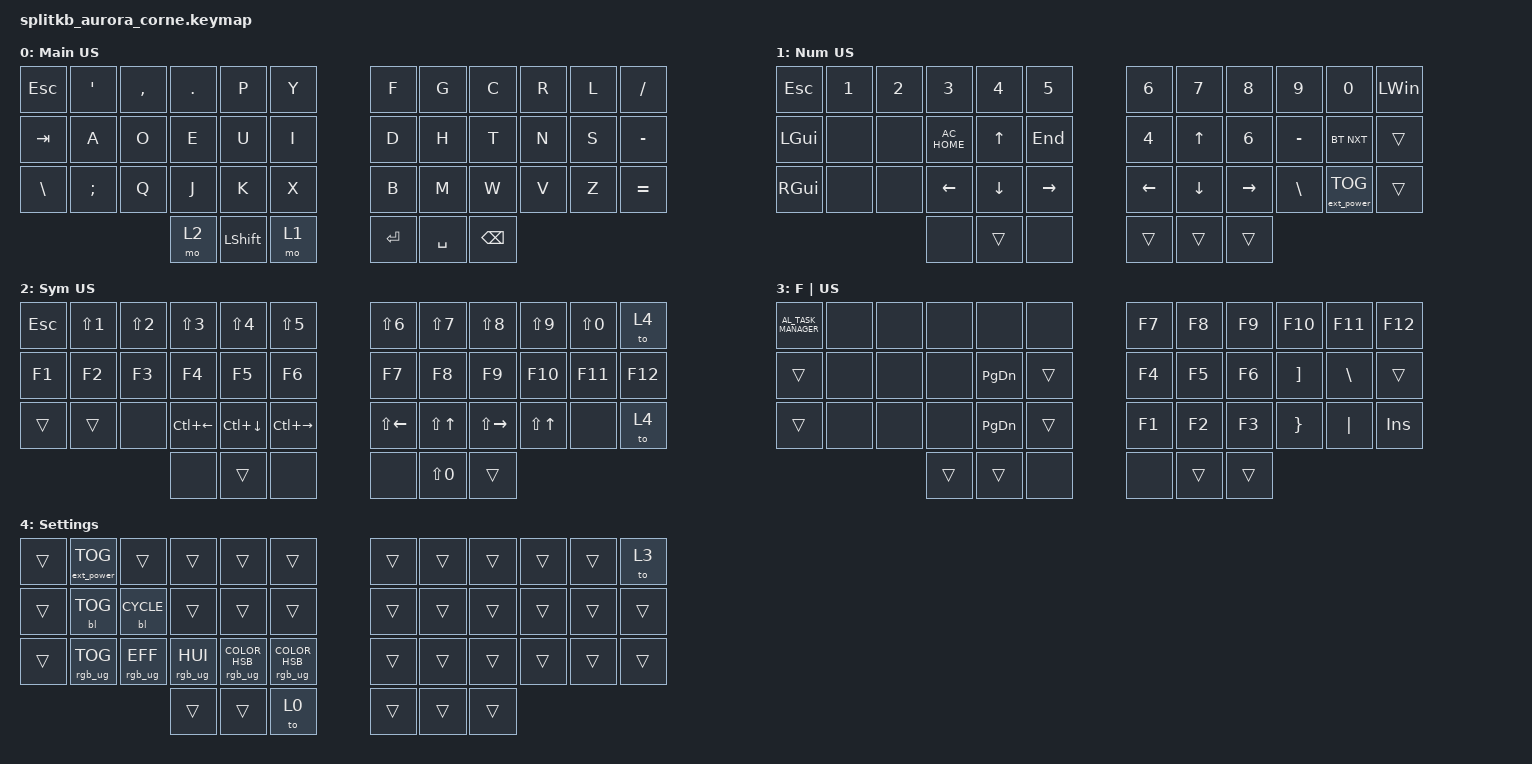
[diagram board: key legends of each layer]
/*
 * Copyright (c) 2020 The ZMK Contributors
 *
 * SPDX-License-Identifier: MIT
 */

#include <behaviors.dtsi>
#include <dt-bindings/zmk/backlight.h>
#include <dt-bindings/zmk/bt.h>
#include <dt-bindings/zmk/ext_power.h>
#include <dt-bindings/zmk/keys.h>
#include <dt-bindings/zmk/rgb.h>

&led_strip { chain-length = <27>; };

&nice_view_spi { cs-gpios = <&gpio1 1 GPIO_ACTIVE_HIGH>; };

&sl { release-after-ms = <2000>; };

/ {
    behaviors {
        contrl_tap: contrl_tap {
            compatible = "zmk,behavior-tap-dance";
            label = "CONTRL_TAP";
            #binding-cells = <0>;
            tapping-term-ms = <300>;
            bindings =
                <&kp LEFT_CONTROL>,
                <&kp LEFT_ALT>,
                <&kp LA(LEFT_CONTROL)>;
        };
    };

    combos {
        compatible = "zmk,combos";

        tomain {
            bindings = <&to 0>;
            key-positions = <38 39>;
        };

        tonumbers {
            bindings = <&to 1>;
            key-positions = <39 37>;
        };

        toF {
            bindings = <&to 3>;
            key-positions = <39 36>;
        };
    };

    keymap {
        compatible = "zmk,keymap";

        main {
            bindings = <
&kp ESCAPE  &kp SQT   &kp COMMA  &kp DOT  &kp P           &kp Y    &kp F      &kp G      &kp C          &kp R  &kp L  &kp FSLH
&kp TAB     &kp A     &kp O      &kp E    &kp U           &kp I    &kp D      &kp H      &kp T          &kp N  &kp S  &kp MINUS
&kp BSLH    &kp SEMI  &kp Q      &kp J    &kp K           &kp X    &kp B      &kp M      &kp W          &kp V  &kp Z  &kp EQUAL
                                 &mo 2    &kp LEFT_SHIFT  &mo 1    &kp ENTER  &kp SPACE  &kp BACKSPACE
            >;

            label = "Main US";
        };

        numbers {
            bindings = <
&kp ESC   &kp N1  &kp N2  &kp N3         &kp N4        &kp N5       &kp N6          &kp N7    &kp N8     &kp N9     &kp N0             &kp LEFT_WIN
&kp LGUI  &none   &none   &kp C_AC_HOME  &kp UP_ARROW  &kp END      &kp N4          &kp UP    &kp N6     &kp MINUS  &bt BT_NXT         &trans
&kp RGUI  &none   &none   &kp LEFT       &kp DOWN      &kp RIGHT    &kp LEFT_ARROW  &kp DOWN  &kp RIGHT  &kp BSLH   &ext_power EP_TOG  &trans
                          &none          &trans        &none        &trans          &trans    &trans
            >;

            label = "Num US";
        };

        symbols {
            bindings = <
&kp ESC  &kp LS(NUMBER_1)  &kp LS(NUMBER_2)  &kp LS(NUMBER_3)  &kp LS(NUMBER_4)  &kp LS(N5)       &kp LS(NUMBER_6)  &kp LS(N7)        &kp LS(N8)     &kp LS(N9)        &kp LS(NUMBER_0)  &to 4
&kp F1   &kp F2            &kp F3            &kp F4            &kp F5            &kp F6           &kp F7            &kp F8            &kp F9         &kp F10           &kp F11           &kp F12
&trans   &trans            &none             &kp LC(LEFT)      &kp LC(DOWN)      &kp LC(RIGHT)    &kp LS(LEFT)      &kp LS(UP_ARROW)  &kp LS(RIGHT)  &kp LS(UP_ARROW)  &none             &to 4
                                             &none             &trans            &none            &none             &kp LS(N0)        &trans
            >;

            label = "Sym US";
        };

        f_layer {
            bindings = <
&kp C_AL_TASK_MANAGER  &none  &none  &none   &none          &none     &kp F7  &kp F8  &kp F9  &kp F10   &kp F11   &kp F12
&trans                 &none  &none  &none   &kp PAGE_DOWN  &trans    &kp F4  &kp F5  &kp F6  &kp RBKT  &kp BSLH  &trans
&trans                 &none  &none  &none   &kp PAGE_DOWN  &trans    &kp F1  &kp F2  &kp F3  &kp RBRC  &kp PIPE  &kp INSERT
                                     &trans  &trans         &none     &none   &trans  &trans
            >;

            label = "F | US";
        };

        settings {
            bindings = <
&trans  &ext_power EP_TOG  &trans           &trans           &trans                            &trans                            &trans  &trans  &trans  &trans  &trans  &to 3
&trans  &bl BL_TOG         &bl BL_CYCLE     &trans           &trans                            &trans                            &trans  &trans  &trans  &trans  &trans  &trans
&trans  &rgb_ug RGB_TOG    &rgb_ug RGB_EFF  &rgb_ug RGB_HUI  &rgb_ug RGB_COLOR_HSB(29,100,49)  &rgb_ug RGB_COLOR_HSB(0,0,100)    &trans  &trans  &trans  &trans  &trans  &trans
                                            &trans           &trans                            &to 0                             &trans  &trans  &trans
            >;

            label = "Settings";
        };
    };
};
